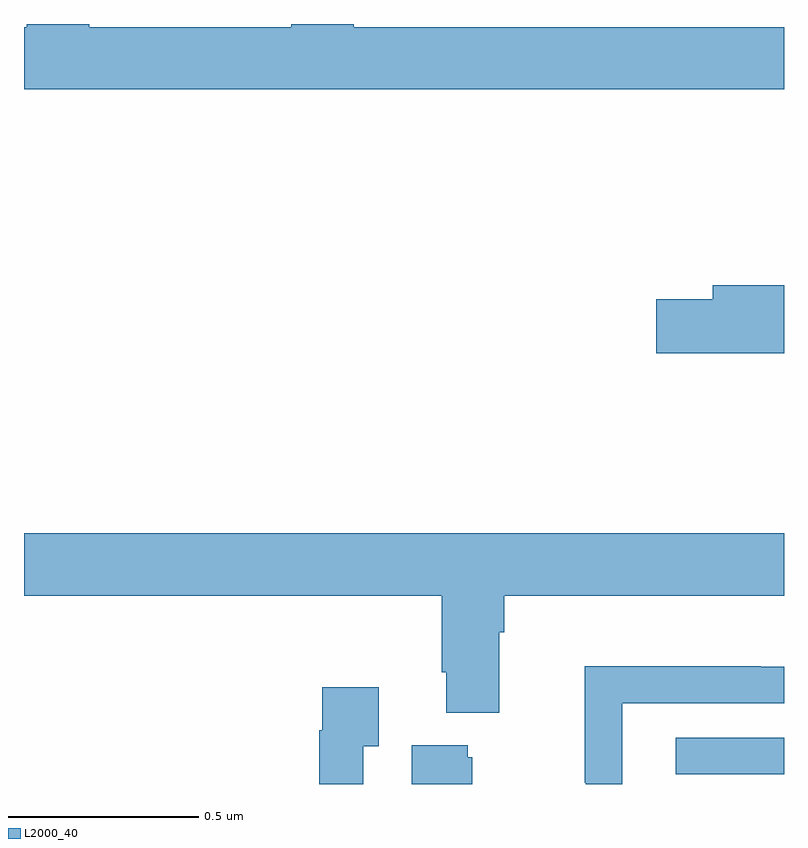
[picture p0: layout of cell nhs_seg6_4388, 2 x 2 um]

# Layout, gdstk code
import gdstk
lib = gdstk.Library(unit=1e-6, precision=1e-09)
def R(c, l, rs):  # rectangles x0, y0, x1, y1
    for r in rs: c.add(gdstk.rectangle(r[:2], r[2:], *l))
def P(c, l, *ps):  # polygons
    for p in ps: c.add(gdstk.Polygon(p, *l))
L2000_40 = (2000, 40)

nhs_seg6_4388 = lib.new_cell('nhs_seg6_4388')
R(nhs_seg6_4388, L2000_40, [(170.715,953.526,171,953.622)])
P(nhs_seg6_4388, L2000_40, [(171,955.492),(169.868,955.492),(169.868,955.5),(169.703,955.5),(169.703,955.492),(169.172,955.492),(169.172,955.5),(169.007,955.5),(169.007,955.492),(169,955.492),(169,955.328),(171,955.328)],
  [(171,954.812),(170.813,954.812),(170.813,954.776),(170.664,954.776),(170.664,954.634),(171,954.634)],
  [(170.251,953.9),(170.264,953.9),(170.264,953.996),(171,953.996),(171,954.16),(169,954.16),(169,953.996),(170.099,953.996),(170.099,953.794),(170.111,953.794),(170.111,953.687),(170.251,953.687)],
  [(170.574,953.712),(171,953.712),(171,953.808),(170.939,953.808),(170.939,953.81),(170.476,953.81),(170.476,953.503),(170.478,953.503),(170.478,953.5),(170.574,953.5)],
  [(169.893,953.599),(169.933,953.599),(169.933,953.755),(169.785,953.755),(169.785,953.642),(169.777,953.642),(169.777,953.5),(169.893,953.5)],
  [(170.179,953.571),(170.168,953.571),(170.168,953.602),(170.021,953.602),(170.021,953.5),(170.179,953.5)])

lib.write_gds('nhs_seg6_4388.gds')
